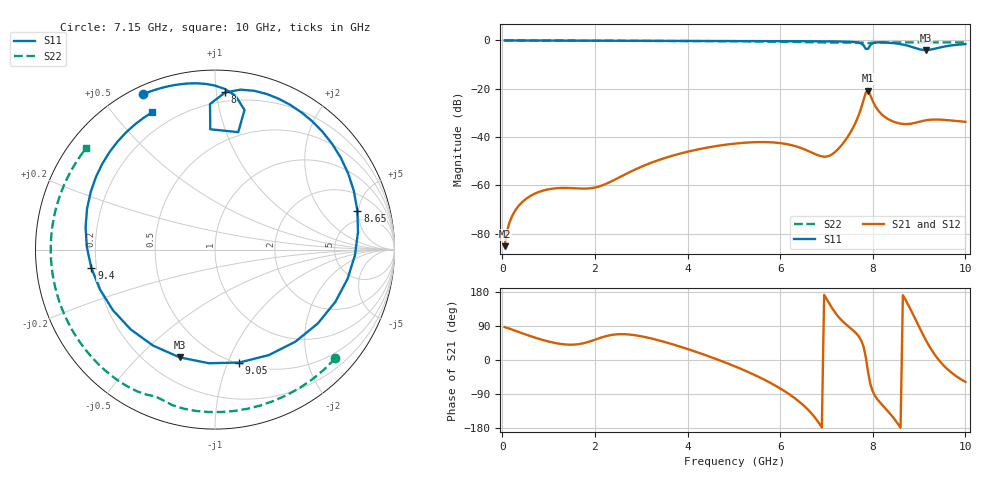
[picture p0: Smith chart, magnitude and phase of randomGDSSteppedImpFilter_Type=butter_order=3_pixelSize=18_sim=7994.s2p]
! freq	dB(S11)	phase(S11)	dB(S12)	phase(S12)
!  dB(S21)	phase(S21)	dB(S22)	phase(S22)
!S-par simulation data
#  GHz  S  DB  R 50
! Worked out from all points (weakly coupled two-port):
!   200 points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, 50 MHz to 10 GHz, reference 50 ohm
!   highest |S21| = -20.74 dB at 7.9 GHz (marker M1); lowest = -85.1 dB at 50 MHz (marker M2)
!   lowest |S11| = -4.0 dB at 9.15 GHz (marker M3), VSWR 4.43, Z = 16.8 - j33.5 ohm
!   |S11| at or under -10 dB: nowhere
!   |S22| runs from -1.1 to 0.0 dB; largest |S21 - S12| = 0
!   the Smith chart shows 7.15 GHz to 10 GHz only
!   S11 on the Smith chart (normalised r, x): 7.15 GHz: 0.03, +0.64; 8 GHz: 0.14, +1.06; 8.65 GHz: 3.61, +4.83; 9.05 GHz: 0.51, -1.10; 9.4 GHz: 0.18, -0.07; 10 GHz: 0.12, +0.64
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0.05  -0.01 -2.3  -85.14 86.9  -85.14 86.9  -0.01 -2.4
0.3  -0.02 -13.7  -69.80 76.2  -69.80 76.2  -0.02 -14.2
0.6  -0.03 -27.2  -64.44 63.3  -64.44 63.3  -0.03 -28.3
1.75  -0.09 -75.3  -61.31 44.1  -61.31 44.1  -0.10 -79.2
3.4  -0.14 -131.9  -49.35 51.2  -49.35 51.2  -0.17 -143.8
4.3  -0.18 -158.4  -44.80 16.6  -44.80 16.6  -0.23 -179.3
5.05  -0.21 -179.5  -42.64 -18.1  -42.64 -18.1  -0.32 145.9
6  -0.27 153.3  -42.49 -75.0  -42.49 -75.0  -0.55 82.2
6.35  -0.30 142.6  -43.88 -104.0  -43.88 -104.0  -0.68 48.9
6.7  -0.34 131.2  -46.54 -144.3  -46.54 -144.3  -0.81 10.0
7.15  -0.41 114.8  -46.74 131.9  -46.74 131.9  -0.88 -42.2
7.55  -0.61 96.3  -36.99 80.8  -36.99 80.8  -0.86 -83.3
7.8  -1.99 78.1  -24.71 35.5  -24.71 35.5  -0.93 -105.4
7.9  -3.47 92.2  -20.74 -33.3  -20.74 -33.3  -1.08 -112.1
8  -1.13 86.3  -25.13 -83.0  -25.13 -83.0  -0.90 -118.9
8.35  -0.94 52.9  -32.76 -138.4  -32.76 -138.4  -0.80 -142.1
8.65  -1.70 15.3  -34.55 171.0  -34.55 171.0  -0.78 -159.0
8.85  -2.72 -23.5  -34.37 125.3  -34.37 125.3  -0.77 -169.2
9.05  -3.83 -77.9  -33.43 75.2  -33.43 75.2  -0.77 -178.7
9.15  -3.99 -108.2  -33.03 51.6  -33.03 51.6  -0.77 176.8
9.4  -3.14 -171.6  -32.73 4.0  -32.73 4.0  -0.77 165.9
10  -1.50 114.5  -33.68 -57.8  -33.68 -57.8  -0.79 141.7
